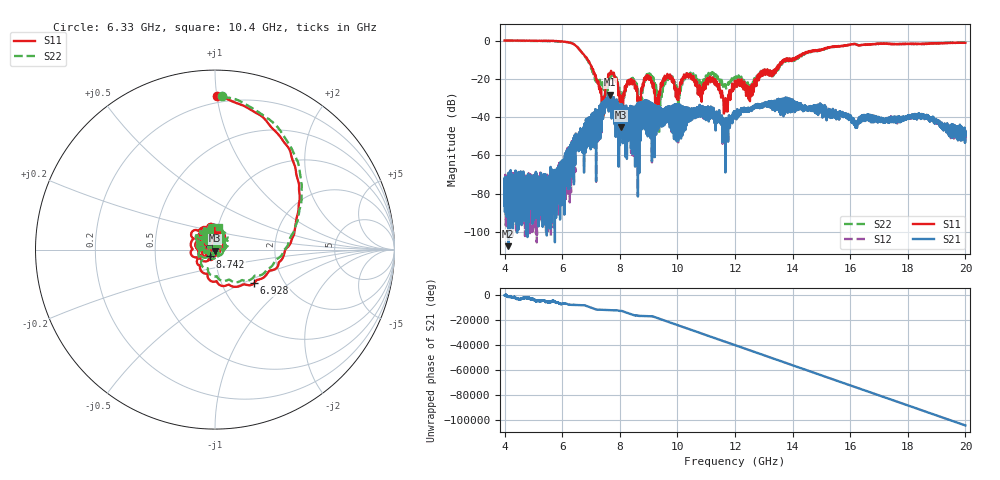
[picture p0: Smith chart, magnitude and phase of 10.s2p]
[Version] 2.0
! Rohde & Schwarz Vector Network Analyzer
! Rohde-Schwarz,ZNL20-2Port,1323001220200009,1.71.1.10-23.02.1.238
! Port Assignments:
! Nominal Port -> Actual Test Port
!  1 -> 1
!  2 -> 2
! Created: GMT+2 2025-01-16 20:23:44
# Hz S RI R 50
[Number of Ports] 2
[Two-Port Data Order] 21_12
! freq[Hz]  S11[Re]  S11[Im]  S21[Re]  S21[Im]  S12[Re]  S12[Im]  S22[Re]  S22[Im]
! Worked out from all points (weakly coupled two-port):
!   16001 points, 4 GHz to 20 GHz, reference 50 ohm
!   highest |S21| = -28.31 dB at 7.643 GHz (marker M1); lowest = -107.4 dB at 4.13 GHz (marker M2)
!   lowest |S11| = -45.2 dB at 8.053 GHz (marker M3), VSWR 1.01, Z = 49.9 - j0.545 ohm
!   |S11| at or under -10 dB: 6.888 GHz to 13.7 GHz (6.814 GHz wide, 66.2 % of centre); 13.715 GHz to 13.74359 GHz (28.58 MHz wide, 0.208 % of centre); 13.94332 GHz to 13.96731 GHz (23.99 MHz wide, 0.172 % of centre) (the widest 3 of 9)
!   |S22| runs from -51.8 to 0.0 dB; largest |S21 - S12| = 0.0028
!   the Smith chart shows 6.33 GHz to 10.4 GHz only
!   S11 on the Smith chart (normalised r, x): 6.33 GHz: 0.16, +1.00; 6.928 GHz: 1.42, -0.58; 8.742 GHz: 0.94, -0.07; 10.4 GHz: 0.99, +0.22
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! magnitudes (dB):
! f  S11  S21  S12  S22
! 4 GHz  0.0  -89.1  -76.0  -0.2
! 4.13 GHz  0.0  -107.4  -73.4  -0.1
! 5.716 GHz  -0.2  -80.4  -78.5  -0.3
! 6.33 GHz  -1.4  -54.1  -54.8  -1.4
! 6.667 GHz  -6.0  -49.6  -49.8  -6.0
! 6.928 GHz  -10.8  -42.2  -42.3  -11.6
! 7.405 GHz  -30.2  -34.5  -34.6  -22.4
! 7.643 GHz  -17.3  -28.3  -28.4  -19.9
! 8.053 GHz  -45.2  -49.3  -48.9  -32.0
! 8.428 GHz  -22.8  -41.1  -40.9  -21.7
! 8.742 GHz  -26.5  -32.6  -32.6  -30.1
! 9.003 GHz  -20.3  -33.6  -33.6  -18.9
! 9.334 GHz  -28.2  -34.3  -34.3  -31.6
! 9.585 GHz  -20.6  -38.6  -38.8  -22.1
! 10.05 GHz  -25.6  -33.4  -33.4  -27.8
! 10.4 GHz  -19.1  -35.4  -35.4  -17.8
! 11.25 GHz  -21.5  -36.2  -36.1  -17.5
! 11.68 GHz  -30.2  -47.2  -47.0  -23.4
! 12 GHz  -21.1  -38.6  -38.4  -18.3
! 14.67 GHz  -5.5  -34.5  -34.6  -5.8
! 17.33 GHz  -1.8  -41.3  -41.0  -1.8
! 20 GHz  -1.2  -48.3  -47.8  -1.1
